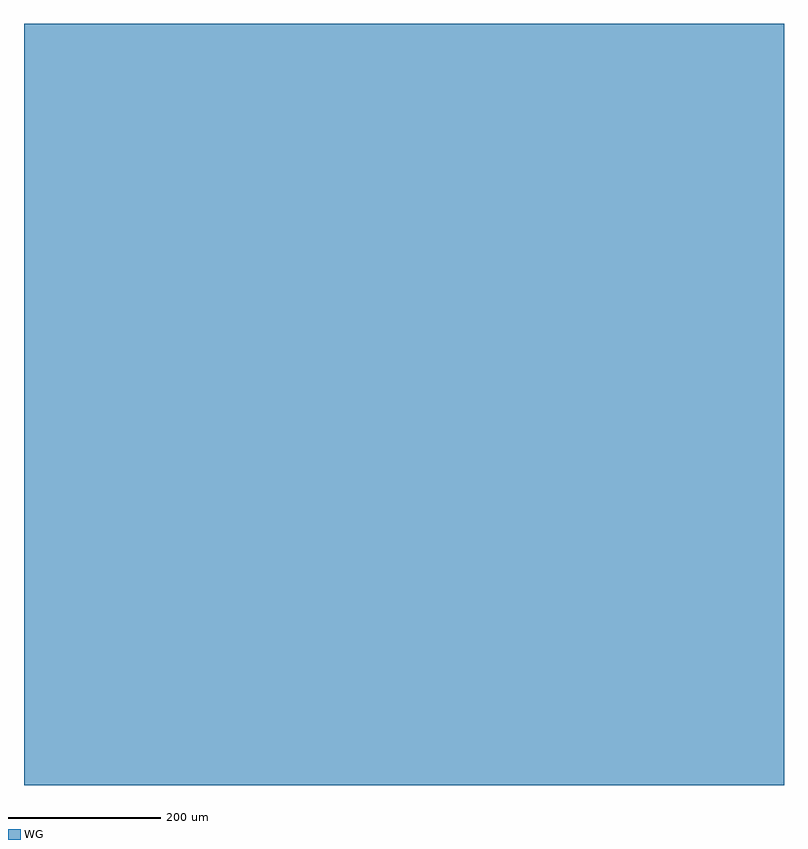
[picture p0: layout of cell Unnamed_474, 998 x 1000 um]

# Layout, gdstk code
import gdstk
lib = gdstk.Library(unit=1e-6, precision=1e-09)
def R(c, l, rs):  # rectangles x0, y0, x1, y1
    for r in rs: c.add(gdstk.rectangle(r[:2], r[2:], *l))
WG = (1, 0)

unnamed_475 = lib.new_cell('Unnamed_475')
R(unnamed_475, WG, [(1151.846,0,1393.846,250)])

unnamed_485 = lib.new_cell('Unnamed_485')
R(unnamed_485, WG, [(1151.846,0,2143.846,1000)])

unnamed_484 = lib.new_cell('Unnamed_484')
R(unnamed_484, WG, [(1151.846,0,2149.846,1000)])

unnamed_483 = lib.new_cell('Unnamed_483')
R(unnamed_483, WG, [(1151.846,0,1889.846,750)])

unnamed_482 = lib.new_cell('Unnamed_482')
R(unnamed_482, WG, [(1151.846,0,1901.846,750)])

unnamed_481 = lib.new_cell('Unnamed_481')
R(unnamed_481, WG, [(1151.846,0,1897.846,750)])

unnamed_479 = lib.new_cell('Unnamed_479')
R(unnamed_479, WG, [(1151.846,0,1637.846,500)])

unnamed_477 = lib.new_cell('Unnamed_477')
R(unnamed_477, WG, [(1151.846,0,1377.846,250)])

unnamed_486 = lib.new_cell('Unnamed_486')
R(unnamed_486, WG, [(1151.846,0,2145.846,1000)])

unnamed_476 = lib.new_cell('Unnamed_476')
R(unnamed_476, WG, [(1151.846,0,1395.846,250)])

unnamed_480 = lib.new_cell('Unnamed_480')
R(unnamed_480, WG, [(1151.846,0,1633.846,500)])

unnamed_478 = lib.new_cell('Unnamed_478')
R(unnamed_478, WG, [(1151.846,0,1645.846,500)])

unnamed_474 = lib.new_cell('Unnamed_474')
unnamed_474.add(gdstk.Reference(unnamed_475, (0,0)))
unnamed_474.add(gdstk.Reference(unnamed_485, (0,0)))
unnamed_474.add(gdstk.Reference(unnamed_484, (0,0)))
unnamed_474.add(gdstk.Reference(unnamed_483, (0,0)))
unnamed_474.add(gdstk.Reference(unnamed_482, (0,0)))
unnamed_474.add(gdstk.Reference(unnamed_481, (0,0)))
unnamed_474.add(gdstk.Reference(unnamed_479, (0,0)))
unnamed_474.add(gdstk.Reference(unnamed_477, (0,0)))
unnamed_474.add(gdstk.Reference(unnamed_486, (0,0)))
unnamed_474.add(gdstk.Reference(unnamed_476, (0,0)))
unnamed_474.add(gdstk.Reference(unnamed_480, (0,0)))
unnamed_474.add(gdstk.Reference(unnamed_478, (0,0)))

lib.write_gds('Unnamed_474.gds')
